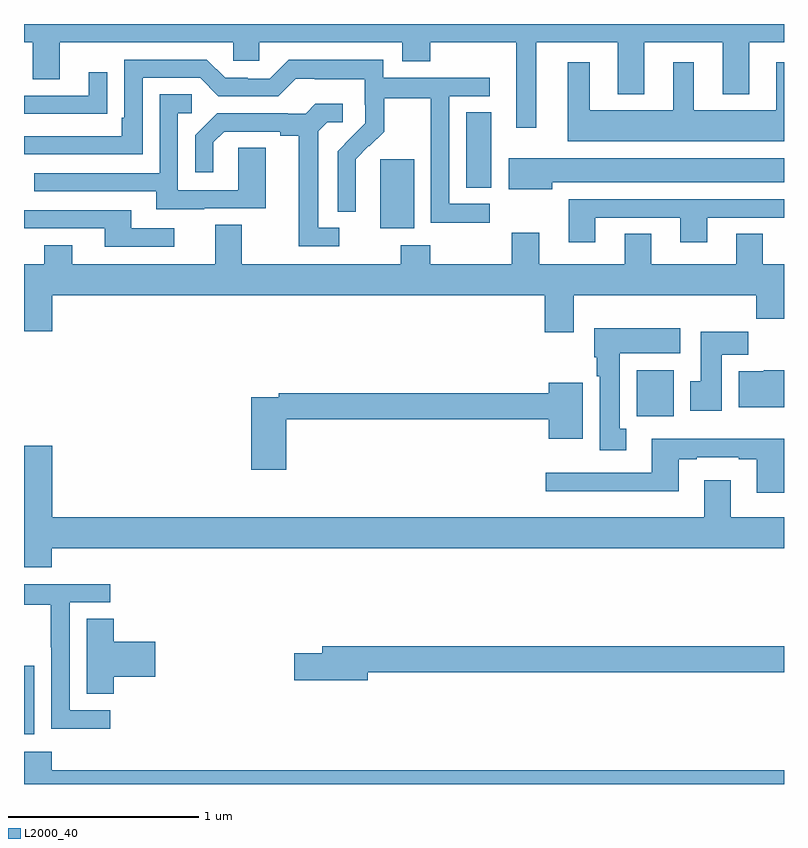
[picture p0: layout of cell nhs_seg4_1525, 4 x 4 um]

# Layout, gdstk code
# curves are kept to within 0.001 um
import gdstk
lib = gdstk.Library(unit=1e-6, precision=1e-09)
def R(c, l, rs):  # rectangles x0, y0, x1, y1
    for r in rs: c.add(gdstk.rectangle(r[:2], r[2:], *l))
def P(c, l, *ps):  # polygons
    for p in ps: c.add(gdstk.Polygon(p, *l))
L2000_40 = (2000, 40)

nhs_seg4_1525 = lib.new_cell('nhs_seg4_1525')
R(nhs_seg4_1525, L2000_40, [(189,809.162,189.055,809.523), (192.224,810.836,192.421,811.078), (190.874,811.826,191.053,812.187), (191.327,812.038,191.458,812.435)])
P(nhs_seg4_1525, L2000_40, [(189,812.804),(189.047,812.804),(189.047,812.61),(189.187,812.61),(189.187,812.804),(190.101,812.804),(190.101,812.706),(190.239,812.706),(190.239,812.804),(190.991,812.804),(190.991,812.705),(191.139,812.705),(191.139,812.804),(191.591,812.804),(191.591,812.355),(191.695,812.355),(191.695,812.804),(192.125,812.804),(192.125,812.531),(192.265,812.531),(192.265,812.804),(192.677,812.804),(192.677,812.531),(192.817,812.531),(192.817,812.804),(193,812.804),(193,812.9),(189,812.9)],
  [(191.452,811.953),(191.238,811.953),(191.238,812.52),(191.452,812.52),(191.452,812.616),(190.89,812.616),(190.89,812.713),(190.393,812.713),(190.293,812.613),(190.178,812.613),(190.178,812.616),(190.059,812.616),(189.963,812.712),(189.528,812.712),(189.528,812.407),(189.515,812.407),(189.515,812.31),(189,812.31),(189,812.214),(189.624,812.214),(189.624,812.616),(189.927,812.616),(190.023,812.52),(190.338,812.52),(190.431,812.613),(190.531,812.613),(190.531,812.609),(190.794,812.609),(190.794,812.475),(190.796,812.475),(190.796,812.378),(190.65,812.23),(190.65,811.912),(190.746,811.912),(190.745,812.189),(190.815,812.259),(190.818,812.256),(190.895,812.333),(190.895,812.508),(191.14,812.508),(191.14,812.284),(191.142,812.284),(191.142,811.855),(191.452,811.855)],
  [(193,812.698),(192.959,812.698),(192.959,812.446),(192.526,812.446),(192.526,812.698),(192.416,812.698),(192.416,812.446),(191.977,812.446),(191.977,812.698),(191.861,812.698),(191.861,812.282),(193,812.282)],
  [(189.335,812.428),(189.437,812.428),(189.437,812.647),(189.341,812.647),(189.341,812.523),(189,812.523),(189,812.427),(189.335,812.427)],
  [(189.949,811.929),(190.273,811.929),(190.273,812.249),(190.128,812.249),(190.128,812.025),(189.81,812.025),(189.81,812.43),(189.883,812.43),(189.883,812.531),(189.714,812.531),(189.714,812.115),(189.055,812.115),(189.055,812.019),(189.695,812.019),(189.695,811.925),(189.949,811.925)],
  [(190.66,811.827),(190.549,811.827),(190.549,812.335),(190.596,812.382),(190.678,812.382),(190.678,812.479),(190.534,812.479),(190.482,812.427),(190.388,812.427),(190.388,812.43),(190.016,812.43),(189.9,812.314),(189.9,812.121),(189.997,812.121),(189.997,812.277),(190.054,812.334),(190.349,812.334),(190.349,812.312),(190.445,812.312),(190.445,811.731),(190.66,811.731)],
  [(191.779,812.066),(193,812.066),(193,812.194),(191.55,812.194),(191.55,812.03),(191.779,812.03)],
  [(192.007,811.881),(192.455,811.881),(192.455,811.752),(192.595,811.752),(192.595,811.881),(193,811.881),(193,811.977),(191.867,811.977),(191.867,811.752),(192.007,811.752)],
  [(189.79,811.824),(189.565,811.824),(189.565,811.92),(189,811.92),(189,811.824),(189.425,811.824),(189.425,811.728),(189.79,811.728)],
  [(192.853,811.348),(193,811.348),(193,811.636),(192.889,811.636),(192.889,811.796),(192.749,811.796),(192.749,811.636),(192.301,811.636),(192.301,811.796),(192.161,811.796),(192.161,811.636),(191.713,811.636),(191.713,811.801),(191.566,811.801),(191.566,811.636),(191.139,811.636),(191.139,811.735),(190.984,811.735),(190.984,811.636),(190.147,811.636),(190.147,811.844),(190.007,811.844),(190.007,811.636),(189.253,811.636),(189.253,811.735),(189.106,811.735),(189.106,811.636),(189,811.636),(189,811.284),(189.148,811.284),(189.148,811.472),(191.741,811.472),(191.741,811.278),(191.893,811.278),(191.893,811.472),(192.853,811.472)],
  [(192.169,810.77),(192.136,810.77),(192.136,811.166),(192.454,811.166),(192.454,811.3),(192.002,811.3),(192.002,811.146),(192.014,811.146),(192.014,811.046),(192.029,811.046),(192.029,810.657),(192.169,810.657)],
  [(192.673,811.16),(192.812,811.16),(192.812,811.279),(192.563,811.279),(192.563,811.02),(192.506,811.02),(192.506,810.864),(192.673,810.864)],
  [(193,811.078),(192.894,811.078),(192.894,811.072),(192.761,811.072),(192.761,810.884),(193,810.884)],
  [(190.379,810.82),(191.762,810.82),(191.762,810.716),(191.941,810.716),(191.941,811.012),(191.762,811.012),(191.762,810.956),(190.342,810.956),(190.342,810.936),(190.196,810.936),(190.196,810.555),(190.379,810.555)],
  [(193,810.718),(192.305,810.718),(192.305,810.537),(191.745,810.537),(191.745,810.44),(192.445,810.44),(192.445,810.609),(192.541,810.609),(192.541,810.621),(192.761,810.621),(192.761,810.609),(192.857,810.609),(192.857,810.432),(193,810.432)],
  [(189.146,810.14),(193,810.14),(193,810.304),(192.721,810.304),(192.721,810.499),(192.581,810.499),(192.581,810.304),(189.148,810.304),(189.148,810.679),(189,810.679),(189,810.041),(189.146,810.041)],
  [(189.454,809.289),(189.24,809.289),(189.24,809.856),(189.454,809.856),(189.454,809.952),(189,809.952),(189,809.844),(189.142,809.844),(189.142,809.62),(189.144,809.62),(189.144,809.191),(189.454,809.191)],
  [(189.473,809.465),(189.691,809.465),(189.691,809.648),(189.473,809.648),(189.473,809.771),(189.329,809.771),(189.329,809.374),(189.473,809.374)],
  [(190.81,809.488),(193,809.488),(193,809.624),(190.571,809.624),(190.571,809.588),(190.422,809.588),(190.422,809.446),(190.81,809.446)],
  [(193,808.972),(189.146,808.972),(189.146,809.071),(189,809.071),(189,808.9),(193,808.9)])

lib.write_gds('nhs_seg4_1525.gds')
